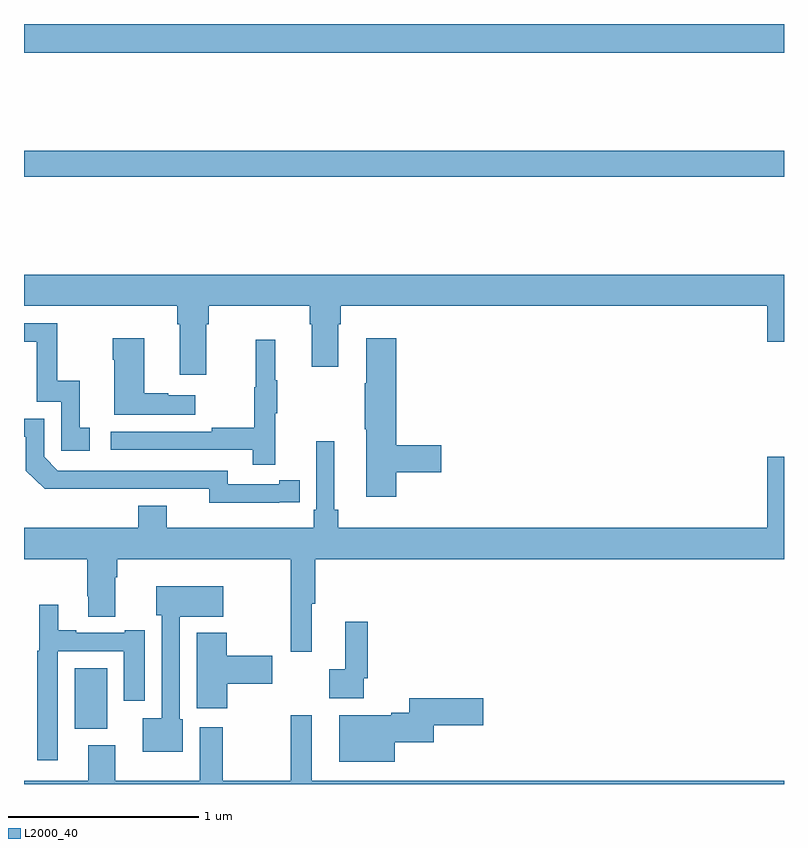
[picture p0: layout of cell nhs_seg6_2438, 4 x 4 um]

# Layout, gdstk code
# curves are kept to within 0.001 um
import gdstk
lib = gdstk.Library(unit=1e-6, precision=1e-09)
def R(c, l, rs):  # rectangles x0, y0, x1, y1
    for r in rs: c.add(gdstk.rectangle(r[:2], r[2:], *l))
def P(c, l, *ps):  # polygons
    for p in ps: c.add(gdstk.Polygon(p, *l))
L2000_40 = (2000, 40)

nhs_seg6_2438 = lib.new_cell('nhs_seg6_2438')
R(nhs_seg6_2438, L2000_40, [(257.267,931.79,257.437,932.11), (257,934.696,261,934.832), (257,935.348,261,935.5)])
P(nhs_seg6_2438, L2000_40, [(257.959,933.92),(257.972,933.92),(257.972,934.016),(258.503,934.016),(258.503,933.92),(258.515,933.92),(258.515,933.696),(258.655,933.696),(258.655,933.92),(258.668,933.92),(258.668,934.016),(260.912,934.016),(260.912,933.828),(261,933.828),(261,934.18),(257,934.18),(257,934.016),(257.807,934.016),(257.807,933.92),(257.819,933.92),(257.819,933.654),(257.959,933.654)],
  [(257.347,933.375),(257.294,933.375),(257.294,933.622),(257.176,933.622),(257.176,933.924),(257,933.924),(257,933.828),(257.067,933.828),(257.067,933.513),(257.196,933.513),(257.196,933.255),(257.347,933.255)],
  [(258.959,933.142),(259.195,933.142),(259.195,933.284),(258.959,933.284),(258.959,933.847),(258.8,933.847),(258.8,933.608),(258.793,933.608),(258.793,933.367),(258.8,933.367),(258.8,933.012),(258.959,933.012)],
  [(257.902,933.547),(257.759,933.547),(257.759,933.557),(257.632,933.557),(257.632,933.847),(257.467,933.847),(257.467,933.734),(257.474,933.734),(257.474,933.443),(257.902,933.443)],
  [(258.323,933.451),(258.334,933.451),(258.334,933.625),(258.323,933.625),(258.323,933.838),(258.22,933.838),(258.22,933.588),(258.213,933.588),(258.213,933.374),(257.989,933.374),(257.989,933.354),(257.457,933.354),(257.457,933.258),(258.205,933.258),(258.205,933.18),(258.323,933.18)],
  [(258.344,932.982),(258.452,932.982),(258.452,933.098),(258.344,933.098),(258.344,933.078),(258.072,933.078),(258.072,933.15),(257.178,933.15),(257.106,933.222),(257.106,933.423),(257,933.423),(257,933.327),(257.01,933.327),(257.01,933.15),(257.108,933.053),(257.976,933.054),(257.976,932.981)],
  [(258.537,933.304),(258.537,932.944),(258.524,932.944),(258.524,932.848),(257.752,932.848),(257.752,932.965),(257.6,932.965),(257.6,932.848),(257,932.848),(257,932.684),(257.332,932.684),(257.332,932.488),(257.339,932.488),(257.339,932.38),(257.479,932.38),(257.479,932.588),(257.492,932.588),(257.492,932.684),(258.404,932.684),(258.404,932.196),(258.515,932.196),(258.515,932.448),(258.533,932.448),(258.533,932.684),(261,932.684),(261,933.223),(260.912,933.223),(260.912,932.848),(258.653,932.848),(258.653,932.944),(258.634,932.944),(258.634,933.304)],
  [(257.836,931.842),(257.82,931.842),(257.82,932.381),(258.049,932.381),(258.049,932.542),(257.696,932.542),(257.696,932.388),(257.724,932.388),(257.724,931.846),(257.624,931.846),(257.624,931.67),(257.836,931.67)],
  [(257.178,932.199),(257.525,932.199),(257.525,931.938),(257.635,931.938),(257.635,932.308),(257.531,932.308),(257.531,932.295),(257.275,932.295),(257.275,932.308),(257.179,932.308),(257.179,932.443),(257.081,932.443),(257.081,932.202),(257.07,932.202),(257.07,931.626),(257.178,931.626)],
  [(258.789,932.056),(258.809,932.056),(258.809,932.353),(258.692,932.353),(258.692,932.105),(258.606,932.105),(258.606,931.952),(258.789,931.952)],
  [(258.071,932.027),(258.307,932.027),(258.307,932.174),(258.066,932.174),(258.066,932.296),(257.909,932.296),(257.909,931.899),(258.071,931.899)],
  [(258.952,931.721),(259.156,931.721),(259.156,931.81),(259.416,931.81),(259.416,931.952),(259.028,931.952),(259.028,931.874),(258.932,931.874),(258.932,931.861),(258.659,931.861),(258.659,931.616),(258.952,931.616)],
  [(257,931.5),(261,931.5),(261,931.516),(258.514,931.516),(258.514,931.861),(258.404,931.861),(258.404,931.516),(258.045,931.516),(258.045,931.798),(257.924,931.798),(257.924,931.516),(257.479,931.516),(257.479,931.705),(257.339,931.705),(257.339,931.516),(257,931.516)])

lib.write_gds('nhs_seg6_2438.gds')
